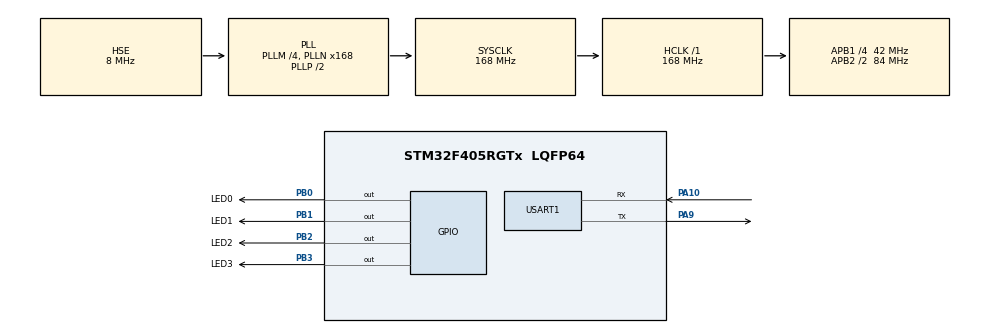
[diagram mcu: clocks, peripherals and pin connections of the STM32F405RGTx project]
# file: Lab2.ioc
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FREERTOS.Tasks01=myTask01,24,128,StartDefaultTask,Default,NULL,Dynamic,NULL,NULL;myTask02,16,128,StartTask02,Default,NULL,Dynamic,NULL,NULL;myTask03,18,128,StartTask03,Default,NULL,Dynamic,NULL,NULL
Mcu.Family=STM32F4
Mcu.Name=STM32F405RGTx
Mcu.Package=LQFP64
NVIC.PriorityGroup=NVIC_PRIORITYGROUP_4
NVIC.USART1_IRQn=true\:5\:0\:false\:false\:true\:true\:true\:true\:true
PA10.Mode=Asynchronous
PA10.Signal=USART1_RX
PA9.Mode=Asynchronous
PA9.Signal=USART1_TX
PB0.GPIO_Label=LED0
PB0.Signal=GPIO_Output
PB1.GPIO_Label=LED1
PB1.Signal=GPIO_Output
PB2.GPIO_Label=LED2
PB2.Signal=GPIO_Output
PB3.GPIO_Label=LED3
PB3.Signal=GPIO_Output
PH0-OSC_IN.Mode=HSE-External-Oscillator
PH0-OSC_IN.Signal=RCC_OSC_IN
PH1-OSC_OUT.Mode=HSE-External-Oscillator
PH1-OSC_OUT.Signal=RCC_OSC_OUT
ProjectManager.HeapSize=0x200
ProjectManager.StackSize=0x400
ProjectManager.TargetToolchain=STM32CubeIDE
RCC.48MHZClocksFreq_Value=84000000
RCC.AHBFreq_Value=168000000
RCC.APB1CLKDivider=RCC_HCLK_DIV4
RCC.APB1Freq_Value=42000000
RCC.APB1TimFreq_Value=84000000
RCC.APB2CLKDivider=RCC_HCLK_DIV2
RCC.APB2Freq_Value=84000000
RCC.APB2TimFreq_Value=168000000
RCC.CortexFreq_Value=168000000
RCC.HCLKFreq_Value=168000000
RCC.HSE_VALUE=8000000
RCC.HSI_VALUE=16000000
RCC.LSE_VALUE=32768
RCC.PLLM=4
RCC.PLLN=168
RCC.PLLSourceVirtual=RCC_PLLSOURCE_HSE
RCC.SYSCLKFreq_VALUE=168000000
RCC.SYSCLKSource=RCC_SYSCLKSOURCE_PLLCLK
RCC.VCOOutputFreq_Value=336000000
USART1.VirtualMode=VM_ASYNC
VP_FREERTOS_VS_CMSIS_V2.Mode=CMSIS_V2
board=custom

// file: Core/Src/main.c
/* USER CODE BEGIN Header */
/**
  ******************************************************************************
  * @file           : main.c
  * @brief          : Main program body
  ******************************************************************************
  * @attention
  *
  * Copyright (c) 2022 STMicroelectronics.
  * All rights reserved.
  *
  * This software is licensed under terms that can be found in the LICENSE file
  * in the root directory of this software component.
  * If no LICENSE file comes with this software, it is provided AS-IS.
  *
  ******************************************************************************
  */
/* USER CODE END Header */
#include "main.h"
#include "cmsis_os.h"

/* USER CODE BEGIN Includes */
#include <stdio.h>
/* USER CODE END Includes */

UART_HandleTypeDef huart1;

/* Definitions for myTask01 */
osThreadId_t myTask01Handle;
const osThreadAttr_t myTask01_attributes = {
  .name = "myTask01",
  .stack_size = 128 * 4,
  .priority = (osPriority_t) osPriorityNormal,
};
/* Definitions for myTask02 */
osThreadId_t myTask02Handle;
const osThreadAttr_t myTask02_attributes = {
  .name = "myTask02",
  .stack_size = 128 * 4,
  .priority = (osPriority_t) osPriorityBelowNormal,
};
/* Definitions for myTask03 */
osThreadId_t myTask03Handle;
const osThreadAttr_t myTask03_attributes = {
  .name = "myTask03",
  .stack_size = 128 * 4,
  .priority = (osPriority_t) osPriorityBelowNormal2,
};

void SystemClock_Config(void);
static void MX_GPIO_Init(void);
static void MX_USART1_UART_Init(void);
void StartDefaultTask(void *argument);
void StartTask02(void *argument);
void StartTask03(void *argument);

/* USER CODE BEGIN PFP */
#ifdef __GNUC__
 #define PUTCHAR_PROTOTYPE int __io_putchar(int ch)
#else
 #define PUTCHAR_PROTOTYPE int fputc(int ch, FILE *f)
#endif /* __GNUC__ */
/* USER CODE END PFP */

/* USER CODE BEGIN 0 */

uint8_t receiveData; 		// Biến lưu trữ 1 byte data nhân từ interrupt
uint8_t buffer[10];			// Buffer
uint8_t ledControlData[4];	// Mảng lưu giá trị điều khiển LED

uint8_t indeX = 0;			// Giá trị index của buffer
uint8_t rcvFlag = 0,		// Cờ nhận data
		bufferFull = 0; 	// Cờ báo full buffer

void HAL_UART_RxCpltCallback(UART_HandleTypeDef *huart)
{

  HAL_UART_Receive_IT(&huart1, &receiveData, 1);
  buffer[indeX] = receiveData;
  indeX++;
  rcvFlag = 1;				// Khi nhận được data thì bật cờ này lên 1
}

/* USER CODE END 0 */

int main(void)
{

  /* MCU Configuration--------------------------------------------------------*/

  /* Reset of all peripherals, Initializes the Flash interface and the Systick. */
  HAL_Init();

  /* Configure the system clock */
  SystemClock_Config();

  /* Initialize all configured peripherals */
  MX_GPIO_Init();
  MX_USART1_UART_Init();

  /* Init scheduler */
  osKernelInitialize();

  /* Create the thread(s) */
  /* creation of myTask01 */
  myTask01Handle = osThreadNew(StartDefaultTask, NULL, &myTask01_attributes);

  /* creation of myTask02 */
  myTask02Handle = osThreadNew(StartTask02, NULL, &myTask02_attributes);

  /* creation of myTask03 */
  myTask03Handle = osThreadNew(StartTask03, NULL, &myTask03_attributes);

  /* Start scheduler */
  osKernelStart();

  /* We should never get here as control is now taken by the scheduler */
  /* Infinite loop */
  while (1)
  {

  }
}

void SystemClock_Config(void)
{
  RCC_OscInitTypeDef RCC_OscInitStruct = {0};
  RCC_ClkInitTypeDef RCC_ClkInitStruct = {0};

  /** Configure the main internal regulator output voltage
  */
  __HAL_RCC_PWR_CLK_ENABLE();
  __HAL_PWR_VOLTAGESCALING_CONFIG(PWR_REGULATOR_VOLTAGE_SCALE1);

  /** Initializes the RCC Oscillators according to the specified parameters
  * in the RCC_OscInitTypeDef structure.
  */
  RCC_OscInitStruct.OscillatorType = RCC_OSCILLATORTYPE_HSE;
  RCC_OscInitStruct.HSEState = RCC_HSE_ON;
  RCC_OscInitStruct.PLL.PLLState = RCC_PLL_ON;
  RCC_OscInitStruct.PLL.PLLSource = RCC_PLLSOURCE_HSE;
  RCC_OscInitStruct.PLL.PLLM = 4;
  RCC_OscInitStruct.PLL.PLLN = 168;
  RCC_OscInitStruct.PLL.PLLP = RCC_PLLP_DIV2;
  RCC_OscInitStruct.PLL.PLLQ = 4;
  if (HAL_RCC_OscConfig(&RCC_OscInitStruct) != HAL_OK)
  {
    Error_Handler();
  }

  /** Initializes the CPU, AHB and APB buses clocks
  */
  RCC_ClkInitStruct.ClockType = RCC_CLOCKTYPE_HCLK|RCC_CLOCKTYPE_SYSCLK
                              |RCC_CLOCKTYPE_PCLK1|RCC_CLOCKTYPE_PCLK2;
  RCC_ClkInitStruct.SYSCLKSource = RCC_SYSCLKSOURCE_PLLCLK;
  RCC_ClkInitStruct.AHBCLKDivider = RCC_SYSCLK_DIV1;
  RCC_ClkInitStruct.APB1CLKDivider = RCC_HCLK_DIV4;
  RCC_ClkInitStruct.APB2CLKDivider = RCC_HCLK_DIV2;

  if (HAL_RCC_ClockConfig(&RCC_ClkInitStruct, FLASH_LATENCY_5) != HAL_OK)
  {
    Error_Handler();
  }
}

static void MX_USART1_UART_Init(void)
{

  huart1.Instance = USART1;
  huart1.Init.BaudRate = 115200;
  huart1.Init.WordLength = UART_WORDLENGTH_8B;
  huart1.Init.StopBits = UART_STOPBITS_1;
  huart1.Init.Parity = UART_PARITY_NONE;
  huart1.Init.Mode = UART_MODE_TX_RX;
  huart1.Init.HwFlowCtl = UART_HWCONTROL_NONE;
  huart1.Init.OverSampling = UART_OVERSAMPLING_16;
  if (HAL_UART_Init(&huart1) != HAL_OK)
  {
    Error_Handler();
  }

}

static void MX_GPIO_Init(void)
{
  GPIO_InitTypeDef GPIO_InitStruct = {0};

  /* GPIO Ports Clock Enable */
  __HAL_RCC_GPIOH_CLK_ENABLE();
  __HAL_RCC_GPIOB_CLK_ENABLE();
  __HAL_RCC_GPIOA_CLK_ENABLE();

  /*Configure GPIO pin Output Level */
  HAL_GPIO_WritePin(GPIOB, LED0_Pin|LED1_Pin|LED2_Pin|LED3_Pin, GPIO_PIN_RESET);

  /*Configure GPIO pins : LED0_Pin LED1_Pin LED2_Pin LED3_Pin */
  GPIO_InitStruct.Pin = LED0_Pin|LED1_Pin|LED2_Pin|LED3_Pin;
  GPIO_InitStruct.Mode = GPIO_MODE_OUTPUT_PP;
  GPIO_InitStruct.Pull = GPIO_NOPULL;
  GPIO_InitStruct.Speed = GPIO_SPEED_FREQ_LOW;
  HAL_GPIO_Init(GPIOB, &GPIO_InitStruct);

}

/* USER CODE BEGIN 4 */
PUTCHAR_PROTOTYPE
{
  HAL_UART_Transmit(&huart1, (uint8_t *)&ch, 1, 100);
  return ch;
}
/* USER CODE END 4 */

void StartDefaultTask(void *argument)
{
  /* USER CODE BEGIN 5 */
  /* Infinite loop */

	  HAL_UART_Receive_IT(&huart1, &receiveData, 1);	// Đăng ký interrupt
	  int8_t j;
	  for(;;)
	  {
		  if(rcvFlag == 1){
			  if (indeX >= 4){
				  j = 3;
				  // Gán 4 giá trị từ buffer qua ledControlData
				  for (int8_t i = indeX - 1; i >= indeX - 4; i--){
					  ledControlData[j] = buffer[i];
					  j--;
				  }
			  bufferFull = 1;
			  indeX = 0;
		      }
		   rcvFlag = 0;
	     }
		  osDelay(100);
	  }

  /* USER CODE END 5 */
}

void StartTask02(void *argument)
{
  /* USER CODE BEGIN StartTask02 */
  /* Infinite loop */
	  for(;;)
	  {
		  // Xuất giá trị ra UART
		  if (bufferFull == 1){
			  printf("\nLed0 Data: %d", ledControlData[0]);
			  printf("\nLed1 Data: %d", ledControlData[1]);
			  printf("\nLed2 Data: %d", ledControlData[2]);
			  printf("\nLed3 Data: %d", ledControlData[3]);
			  bufferFull = 0;
		  }
		  printf("\nProgram's running...");
		  osDelay(500);
	  }
  /* USER CODE END StartTask02 */
}

void StartTask03(void *argument)
{
  /* USER CODE BEGIN StartTask03 */
  /* Infinite loop */
  for(;;)
  {
	  // Điều khiển bật tắt 4 LED
	  HAL_GPIO_WritePin(GPIOB, LED0_Pin, (int8_t)ledControlData[0] - 48);
	  HAL_GPIO_WritePin(GPIOB, LED1_Pin, (int8_t)ledControlData[1] - 48);
	  HAL_GPIO_WritePin(GPIOB, LED2_Pin, (int8_t)ledControlData[2] - 48);
	  HAL_GPIO_WritePin(GPIOB, LED3_Pin, (int8_t)ledControlData[3] - 48);
	  osDelay(10);
  }
  /* USER CODE END StartTask03 */
}

void Error_Handler(void)
{
  __disable_irq();
  while (1)
  {
  }
}
